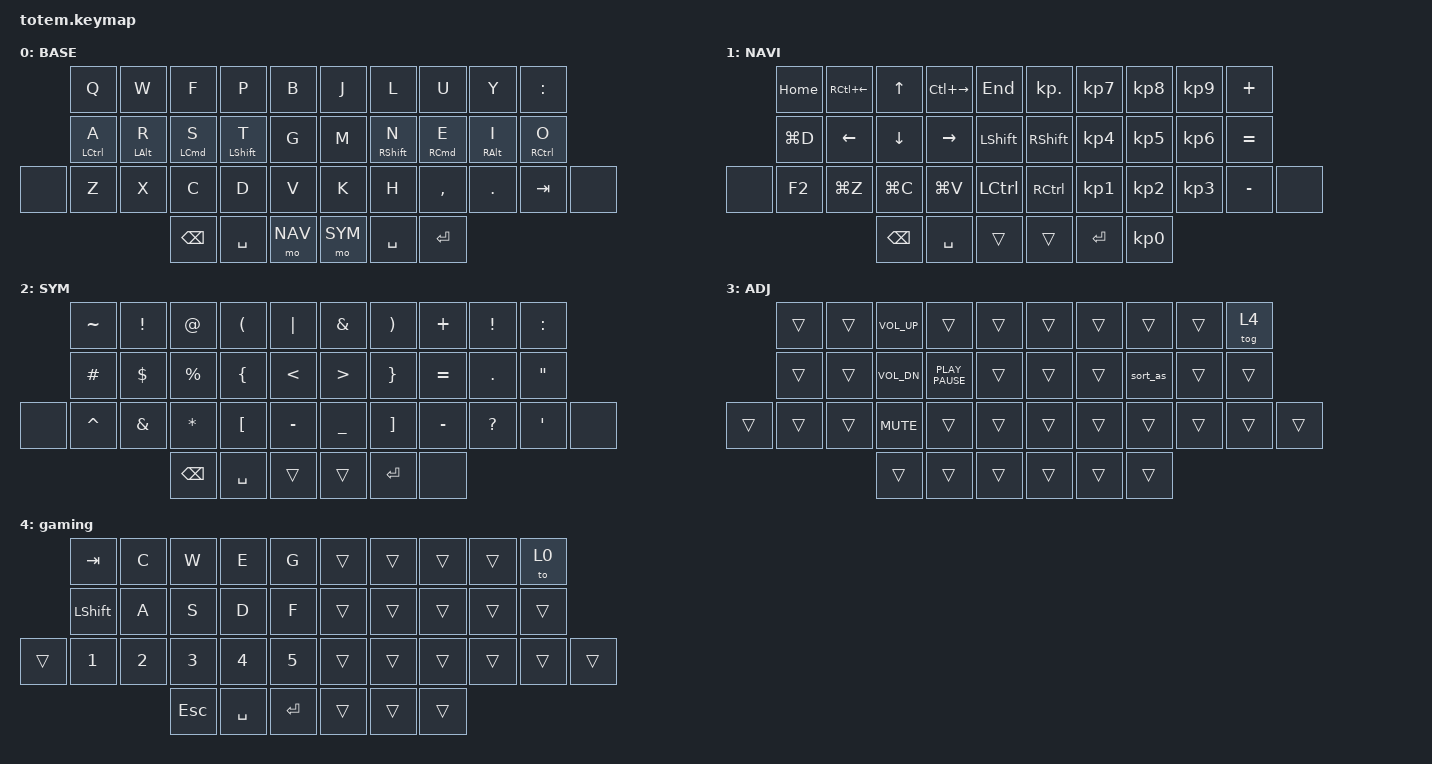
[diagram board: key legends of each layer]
//
//                                                        ▀▀▀▀▀     ▀▀▀▀▀          ▀▀█▀▀
//                                                        ▄▀▀▀▄  ▄  ▄▀▀▀▄  ▄  ▄▀▀▀▄  █  ▄▀▀▀▄
//                                                        █   █  █  █   █  █  █   █  █  █   █
//                                                         ▀▀▀   █   ▀▀▀   █   ▀▀▀   ▀   ▀▀▀
//                                                               █      ▄▄▄█▄▄▄    █   █  
//                                                               ▀      █  █  █     █▄█
//                                                             ▀▀▀▀▀    █  █  █      ▀
//                                                                      ▀  ▀  ▀
//
// ▄▄▄▄▄▄▄▄▄▄▄▄▄▄▄▄▄▄▄▄▄▄▄▄▄▄▄▄▄▄▄▄▄▄▄▄▄▄▄▄▄▄▄▄▄▄▄▄▄▄▄▄▄▄▄▄▄▄▄▄▄▄▄▄▄▄▄▄▄▄▄▄▄▄▄▄▄▄▄▄▄▄▄▄▄▄▄▄▄▄▄▄▄▄▄▄▄▄▄▄▄▄▄▄▄▄▄▄▄▄▄▄▄▄▄▄▄▄▄▄▄▄▄▄▄▄▄▄▄▄▄▄▄▄▄▄▄▄▄▄▄▄▄▄▄▄▄▄▄

#include <behaviors.dtsi>
#include <dt-bindings/zmk/keys.h>

#define BASE 0
#define NAV  1
#define SYM  2
#define ADJ  3
#define TVP1 4
#define TVP2 5

&mt {
    quick-tap-ms = <100>;
    global-quick-tap;
    flavor = "tap-preferred";
    tapping-term-ms = <170>;
};

/ {
    combos {
        compatible = "zmk,combos";

        combo_esc {
            timeout-ms = <50>;
            key-positions = <0 1>;
            bindings = <&kp ESC>;
        };

        third_layer {
            bindings = <&mo ADJ>;
            key-positions = <34 35>;
        };

        bootloader {
            bindings = <&bootloader>;
            key-positions = <0 4 5 9>;
        };

        crtl {
            bindings = <&kp LCTRL>;
            key-positions = <37 36>;
        };

        cmd {
            bindings = <&kp LEFT_GUI>;
            key-positions = <37 32>;
        };

        organize_windows {
            bindings = <&kp LG(LS(LC(NUMBER_1)))>;
            key-positions = <21 10 22>;
        };
    };

    macros {
        sort_as: sort_as {
            compatible = "zmk,behavior-macro";
            #binding-cells = <0>;
            bindings = <&kp LG(DOWN) &kp LS(LG(L)) &kp LS(LA(O))>;
        };
    };

    behaviors {
        hmr: hmr {
            compatible = "zmk,behavior-hold-tap";
            label = "HMR";
            bindings = <&kp>, <&kp>;

            #binding-cells = <2>;
            tapping-term-ms = <280>;
            quick-tap-ms = <175>;
            flavor = "balanced";
            hold-trigger-on-release;
            hold-trigger-key-positions = <0 21 1 11 10 22 23 12 2 3 24 13 4 25 14 32 33 34 35 36 37>;
        };

        hml: hml {
            compatible = "zmk,behavior-hold-tap";
            label = "HML";
            bindings = <&kp>, <&kp>;

            #binding-cells = <2>;
            tapping-term-ms = <280>;
            quick-tap-ms = <170>;
            flavor = "balanced";
            hold-trigger-key-positions = <5 6 7 8 9 15 16 17 18 19 26 27 28 29 30 35 36 37 32 33 34>;
            hold-trigger-on-release;
        };
    };

    keymap {
        compatible = "zmk,keymap";

        // ▄▄▄▄▄▄▄▄▄▄▄▄▄▄▄▄▄▄▄▄▄▄▄▄▄▄▄▄▄▄▄▄▄▄▄▄▄▄▄▄▄▄▄▄▄▄▄▄▄▄▄▄▄▄▄▄▄▄▄▄▄▄▄▄▄▄▄▄▄▄▄▄▄▄▄▄▄▄▄▄▄▄▄▄▄▄▄▄▄▄▄▄▄▄▄▄▄▄▄▄▄▄▄▄▄▄▄▄▄▄▄▄▄▄▄▄▄▄▄▄▄▄▄▄▄▄▄▄▄▄▄▄▄▄▄▄▄▄▄▄▄▄▄▄▄▄▄▄▄

        base_layer {
            // ┏━━━━━━━━━━━━━━━━━━━━━━━━━━━━━━━━━━━━━━━┓

            display-name = "BASE";

            // ┗━━━━━━━━━━━━━━━━━━━━━━━━━━━━━━━━━━━━━━━┛
            //             ┏━━━━━━━━━━━┳━━━━━━━━━━━┳━━━━━━━━━━━┳━━━━━━━━━━━┳━━━━━━━━━━━┓   ┏━━━━━━━━━━━┳━━━━━━━━━━━┳━━━━━━━━━━━┳━━━━━━━━━━━┳━━━━━━━━━━━┓
            //             ┃     Q     ┃     W     ┃     F     ┃     P     ┃     B     ┃   ┃     J     ┃     L     ┃     U     ┃     Y     ┃     ;     ┃
            //             ┣━━━━━━━━━━━╋━━━━━━━━━━━╋━━━━━━━━━━━╋━━━━━━━━━━━╋━━━━━━━━━━━┫   ┣━━━━━━━━━━━╋━━━━━━━━━━━╋━━━━━━━━━━━╋━━━━━━━━━━━╋━━━━━━━━━━━┫
            //             ┃     A     ┃     R     ┃     S     ┃     T     ┃     G     ┃   ┃     H     ┃     N     ┃     E     ┃     I     ┃     O     ┃
            // ┏━━━━━━━━━━━╋━━━━━━━━━━━╋━━━━━━━━━━━╋━━━━━━━━━━━╋━━━━━━━━━━━╋━━━━━━━━━━━┫   ┣━━━━━━━━━━━╋━━━━━━━━━━━╋━━━━━━━━━━━╋━━━━━━━━━━━╋━━━━━━━━━━━╋━━━━━━━━━━━┓
            // ┃     Q     ┃     Z     ┃     X     ┃     C     ┃     D     ┃     V     ┃   ┃     K     ┃     M     ┃     ,     ┃     .     ┃     /     ┃     \     ┃
            // ┗━━━━━━━━━━━┻━━━━━━━━━━━┻━━━━━━━━━━━╋━━━━━━━━━━━╋━━━━━━━━━━━╋━━━━━━━━━━━┫   ┣━━━━━━━━━━━╋━━━━━━━━━━━╋━━━━━━━━━━━╋━━━━━━━━━━━┻━━━━━━━━━━━┻━━━━━━━━━━━┛
            //                                     ┃    BKSP   ┃   SPACE   ┃    BOOT   ┃   ┃   ENTER   ┃  ENTER    ┃   SHIFT   ┃
            //                                     ┗━━━━━━━━━━━┻━━━━━━━━━━━┻━━━━━━━━━━━┛   ┗━━━━━━━━━━━┻━━━━━━━━━━━┻━━━━━━━━━━━┛

            bindings = <
       &kp Q                &kp W            &kp F        &kp P              &kp B      &kp J    &kp L               &kp U        &kp Y             &kp COLON
       &hml LEFT_CONTROL A  &hml LEFT_ALT R  &hml LCMD S  &hml LEFT_SHIFT T  &kp G      &kp M    &hmr RIGHT_SHIFT N  &hmr RCMD E  &hmr RIGHT_ALT I  &hmr RCTRL O
&none  &kp Z                &kp X            &kp C        &kp D              &kp V      &kp K    &kp H               &kp COMMA    &kp DOT           &kp TAB       &none
                                             &kp BSPC     &kp SPACE          &mo NAV    &mo SYM  &kp SPACE           &kp ENTER
            >;
        };

        // ▄▄▄▄▄▄▄▄▄▄▄▄▄▄▄▄▄▄▄▄▄▄▄▄▄▄▄▄▄▄▄▄▄▄▄▄▄▄▄▄▄▄▄▄▄▄▄▄▄▄▄▄▄▄▄▄▄▄▄▄▄▄▄▄▄▄▄▄▄▄▄▄▄▄▄▄▄▄▄▄▄▄▄▄▄▄▄▄▄▄▄▄▄▄▄▄▄▄▄▄▄▄▄▄▄▄▄▄▄▄▄▄▄▄▄▄▄▄▄▄▄▄▄▄▄▄▄▄▄▄▄▄▄▄▄▄▄▄▄▄▄▄▄▄▄▄▄▄▄

        nav_layer {
            // ┏━━━━━━━━━━━━━━━━━━━━━━━━━━━━━━━━━━━━━━━┓

            display-name = "NAVI";

            // ┗━━━━━━━━━━━━━━━━━━━━━━━━━━━━━━━━━━━━━━━┛
            //             ┏━━━━━━━━━━━┳━━━━━━━━━━━┳━━━━━━━━━━━┳━━━━━━━━━━━┳━━━━━━━━━━━┓   ┏━━━━━━━━━━━┳━━━━━━━━━━━┳━━━━━━━━━━━┳━━━━━━━━━━━┳━━━━━━━━━━━┓
            //             ┃           ┃           ┃     UP    ┃           ┃     {     ┃   ┃     }     ┃     7     ┃     8     ┃     9     ┃     +     ┃
            //             ┣━━━━━━━━━━━╋━━━━━━━━━━━╋━━━━━━━━━━━╋━━━━━━━━━━━╋━━━━━━━━━━━┫   ┣━━━━━━━━━━━╋━━━━━━━━━━━╋━━━━━━━━━━━╋━━━━━━━━━━━╋━━━━━━━━━━━┫
            //             ┃   SHIFT   ┃   LEFT    ┃    DOWN   ┃   RIGHT   ┃     [     ┃   ┃     ]     ┃     4     ┃     5     ┃     6     ┃     -     ┃
            // ┏━━━━━━━━━━━╋━━━━━━━━━━━╋━━━━━━━━━━━╋━━━━━━━━━━━╋━━━━━━━━━━━╋━━━━━━━━━━━┫   ┣━━━━━━━━━━━╋━━━━━━━━━━━╋━━━━━━━━━━━╋━━━━━━━━━━━╋━━━━━━━━━━━╋━━━━━━━━━━━┓
            // ┃           ┃           ┃   P UP    ┃  C LOCK   ┃  P DOWN   ┃     (     ┃   ┃     )     ┃     1     ┃     2     ┃     3     ┃     *     ┃           ┃
            // ┗━━━━━━━━━━━┻━━━━━━━━━━━┻━━━━━━━━━━━╋━━━━━━━━━━━╋━━━━━━━━━━━╋━━━━━━━━━━━┫   ┣━━━━━━━━━━━╋━━━━━━━━━━━╋━━━━━━━━━━━╋━━━━━━━━━━━┻━━━━━━━━━━━┻━━━━━━━━━━━┛
            //                                     ┃           ┃    TAB    ┃    SPC    ┃   ┃    DEL    ┃     0     ┃           ┃
            //                                     ┗━━━━━━━━━━━┻━━━━━━━━━━━┻━━━━━━━━━━━┛   ┗━━━━━━━━━━━┻━━━━━━━━━━━┻━━━━━━━━━━━┛

            bindings = <
       &kp HOME   &kp RC(LEFT_ARROW)  &kp UP         &kp LC(RIGHT_ARROW)  &kp END       &kp KP_DOT  &kp KP_N7  &kp KP_N8        &kp KP_N9  &kp PLUS
       &kp LG(D)  &kp LEFT            &kp DOWN       &kp RIGHT            &kp LSHIFT    &kp RSHIFT  &kp KP_N4  &kp KP_N5        &kp KP_N6  &kp EQUAL
&none  &kp F2     &kp LG(Z)           &kp LG(C)      &kp LG(V)            &kp LCTRL     &kp RCTRL   &kp KP_N1  &kp KP_N2        &kp KP_N3  &kp MINUS  &none
                                      &kp BACKSPACE  &kp SPACE            &trans        &trans      &kp ENTER  &kp KP_NUMBER_0
            >;
        };

        // ▄▄▄▄▄▄▄▄▄▄▄▄▄▄▄▄▄▄▄▄▄▄▄▄▄▄▄▄▄▄▄▄▄▄▄▄▄▄▄▄▄▄▄▄▄▄▄▄▄▄▄▄▄▄▄▄▄▄▄▄▄▄▄▄▄▄▄▄▄▄▄▄▄▄▄▄▄▄▄▄▄▄▄▄▄▄▄▄▄▄▄▄▄▄▄▄▄▄▄▄▄▄▄▄▄▄▄▄▄▄▄▄▄▄▄▄▄▄▄▄▄▄▄▄▄▄▄▄▄▄▄▄▄▄▄▄▄▄▄▄▄▄▄▄▄▄▄▄▄

        sym_layer {
            // ┏━━━━━━━━━━━━━━━━━━━━━━━━━━━━━━━━━━━━━━━┓

            display-name = "SYM";

            // ┗━━━━━━━━━━━━━━━━━━━━━━━━━━━━━━━━━━━━━━━┛
            //             ┏━━━━━━━━━━━┳━━━━━━━━━━━┳━━━━━━━━━━━┳━━━━━━━━━━━┳━━━━━━━━━━━┓   ┏━━━━━━━━━━━┳━━━━━━━━━━━┳━━━━━━━━━━━┳━━━━━━━━━━━┳━━━━━━━━━━━┓
            //             ┃     !     ┃     @     ┃     #     ┃     $     ┃     %     ┃   ┃     ˆ     ┃     &     ┃     Ü     ┃     '     ┃     "     ┃
            //             ┣━━━━━━━━━━━╋━━━━━━━━━━━╋━━━━━━━━━━━╋━━━━━━━━━━━╋━━━━━━━━━━━┫   ┣━━━━━━━━━━━╋━━━━━━━━━━━╋━━━━━━━━━━━╋━━━━━━━━━━━╋━━━━━━━━━━━┫
            //             ┃     Ä     ┃           ┃    SZ     ┃           ┃           ┃   ┃   MUTE    ┃   YEN     ┃   EURO    ┃  POUND    ┃     Ö     ┃
            // ┏━━━━━━━━━━━╋━━━━━━━━━━━╋━━━━━━━━━━━╋━━━━━━━━━━━╋━━━━━━━━━━━╋━━━━━━━━━━━┫   ┣━━━━━━━━━━━╋━━━━━━━━━━━╋━━━━━━━━━━━╋━━━━━━━━━━━╋━━━━━━━━━━━╋━━━━━━━━━━━┓
            // ┃           ┃  EMAIL1   ┃  EMAIL2   ┃           ┃           ┃           ┃   ┃   VOL-    ┃   VOL+    ┃   LAST    ┃   NEXT    ┃     \     ┃           ┃
            // ┗━━━━━━━━━━━┻━━━━━━━━━━━┻━━━━━━━━━━━╋━━━━━━━━━━━╋━━━━━━━━━━━╋━━━━━━━━━━━┫   ┣━━━━━━━━━━━╋━━━━━━━━━━━╋━━━━━━━━━━━╋━━━━━━━━━━━┻━━━━━━━━━━━┻━━━━━━━━━━━┛
            //                                     ┃           ┃    GIF    ┃    ADJ    ┃   ┃           ┃           ┃           ┃
            //                                     ┗━━━━━━━━━━━┻━━━━━━━━━━━┻━━━━━━━━━━━┛   ┗━━━━━━━━━━━┻━━━━━━━━━━━┻━━━━━━━━━━━┛

            bindings = <
       &kp TILDE  &kp EXCLAMATION  &kp AT_SIGN    &kp LEFT_PARENTHESIS  &kp PIPE         &kp AMPERSAND     &kp RIGHT_PARENTHESIS  &kp PLUS   &kp EXCLAMATION  &kp COLON
       &kp HASH   &kp DOLLAR       &kp PERCENT    &kp LEFT_BRACE        &kp LESS_THAN    &kp GREATER_THAN  &kp RIGHT_BRACE        &kp EQUAL  &kp DOT          &kp DOUBLE_QUOTES
&none  &kp CARET  &kp AMPERSAND    &kp ASTERISK   &kp LBKT              &kp MINUS        &kp UNDERSCORE    &kp RIGHT_BRACKET      &kp MINUS  &kp QUESTION     &kp SINGLE_QUOTE   &none
                                   &kp BACKSPACE  &kp SPACE             &trans           &trans            &kp ENTER              &none
            >;
        };

        // ▄▄▄▄▄▄▄▄▄▄▄▄▄▄▄▄▄▄▄▄▄▄▄▄▄▄▄▄▄▄▄▄▄▄▄▄▄▄▄▄▄▄▄▄▄▄▄▄▄▄▄▄▄▄▄▄▄▄▄▄▄▄▄▄▄▄▄▄▄▄▄▄▄▄▄▄▄▄▄▄▄▄▄▄▄▄▄▄▄▄▄▄▄▄▄▄▄▄▄▄▄▄▄▄▄▄▄▄▄▄▄▄▄▄▄▄▄▄▄▄▄▄▄▄▄▄▄▄▄▄▄▄▄▄▄▄▄▄▄▄▄▄▄▄▄▄▄▄▄

        adjust_layer {
            // ┏━━━━━━━━━━━━━━━━━━━━━━━━━━━━━━━━━━━━━━━┓

            display-name = "ADJ";

            // ┗━━━━━━━━━━━━━━━━━━━━━━━━━━━━━━━━━━━━━━━┛
            //             ┏━━━━━━━━━━━┳━━━━━━━━━━━┳━━━━━━━━━━━┳━━━━━━━━━━━┳━━━━━━━━━━━┓   ┏━━━━━━━━━━━┳━━━━━━━━━━━┳━━━━━━━━━━━┳━━━━━━━━━━━┳━━━━━━━━━━━┓
            //             ┃   RESET   ┃ BT CLEAR  ┃  OUT TOG  ┃           ┃           ┃   ┃           ┃    F7     ┃    F8     ┃    F9     ┃    F12    ┃
            //             ┣━━━━━━━━━━━╋━━━━━━━━━━━╋━━━━━━━━━━━╋━━━━━━━━━━━╋━━━━━━━━━━━┫   ┣━━━━━━━━━━━╋━━━━━━━━━━━╋━━━━━━━━━━━╋━━━━━━━━━━━╋━━━━━━━━━━━┫
            //             ┃ BOOTLOAD  ┃ BT NEXT   ┃           ┃           ┃           ┃   ┃           ┃    F4     ┃    F5     ┃    F6     ┃    F11    ┃
            // ┏━━━━━━━━━━━╋━━━━━━━━━━━╋━━━━━━━━━━━╋━━━━━━━━━━━╋━━━━━━━━━━━╋━━━━━━━━━━━┫   ┣━━━━━━━━━━━╋━━━━━━━━━━━╋━━━━━━━━━━━╋━━━━━━━━━━━╋━━━━━━━━━━━╋━━━━━━━━━━━┓
            // ┃           ┃           ┃ BT PREV   ┃           ┃           ┃           ┃   ┃           ┃    F1     ┃    F2     ┃    F3     ┃    F10    ┃           ┃
            // ┗━━━━━━━━━━━┻━━━━━━━━━━━┻━━━━━━━━━━━╋━━━━━━━━━━━╋━━━━━━━━━━━╋━━━━━━━━━━━┫   ┣━━━━━━━━━━━╋━━━━━━━━━━━╋━━━━━━━━━━━╋━━━━━━━━━━━┻━━━━━━━━━━━┻━━━━━━━━━━━┛
            //                                     ┃           ┃           ┃           ┃   ┃           ┃           ┃           ┃
            //                                     ┗━━━━━━━━━━━┻━━━━━━━━━━━┻━━━━━━━━━━━┛   ┗━━━━━━━━━━━┻━━━━━━━━━━━┻━━━━━━━━━━━┛

            bindings = <
        &trans  &trans  &kp C_VOLUME_UP  &trans            &trans    &trans  &trans  &trans    &trans  &tog 4
        &trans  &trans  &kp C_VOL_DN     &kp K_PLAY_PAUSE  &trans    &trans  &trans  &sort_as  &trans  &trans
&trans  &trans  &trans  &kp K_MUTE       &trans            &trans    &trans  &trans  &trans    &trans  &trans  &trans
                        &trans           &trans            &trans    &trans  &trans  &trans
            >;
        };

        gaming {
            bindings = <
        &kp TAB         &kp C         &kp W         &kp E         &kp G        &trans  &trans  &trans  &trans  &to 0
        &kp LEFT_SHIFT  &kp A         &kp S         &kp D         &kp F        &trans  &trans  &trans  &trans  &trans
&trans  &kp NUMBER_1    &kp NUMBER_2  &kp NUMBER_3  &kp NUMBER_4  &kp N5       &trans  &trans  &trans  &trans  &trans  &trans
                                      &kp ESC       &kp SPACE     &kp ENTER    &trans  &trans  &trans
            >;
        };

        // ▄▄▄▄▄▄▄▄▄▄▄▄▄▄▄▄▄▄▄▄▄▄▄▄▄▄▄▄▄▄▄▄▄▄▄▄▄▄▄▄▄▄▄▄▄▄▄▄▄▄▄▄▄▄▄▄▄▄▄▄▄▄▄▄▄▄▄▄▄▄▄▄▄▄▄▄▄▄▄▄▄▄▄▄▄▄▄▄▄▄▄▄▄▄▄▄▄▄▄▄▄▄▄▄▄▄▄▄▄▄▄▄▄▄▄▄▄▄▄▄▄▄▄▄▄▄▄▄▄▄▄▄▄▄▄▄▄▄▄▄▄▄▄▄▄▄▄▄▄
        // ▄▄▄▄▄▄▄▄▄▄▄▄▄▄▄▄▄▄▄▄▄▄▄▄▄▄▄▄▄▄▄▄▄▄▄▄▄▄▄▄▄▄▄▄▄▄▄▄▄▄▄▄▄▄▄▄▄▄▄▄▄▄▄▄▄▄▄▄▄▄▄▄▄▄▄▄▄▄▄▄▄▄▄▄▄▄▄▄▄▄▄▄▄▄▄▄▄▄▄▄▄▄▄▄▄▄▄▄▄▄▄▄▄▄▄▄▄▄▄▄▄▄▄▄▄▄▄▄▄▄▄▄▄▄▄▄▄▄▄▄▄▄▄▄▄▄▄▄▄
    };
};
